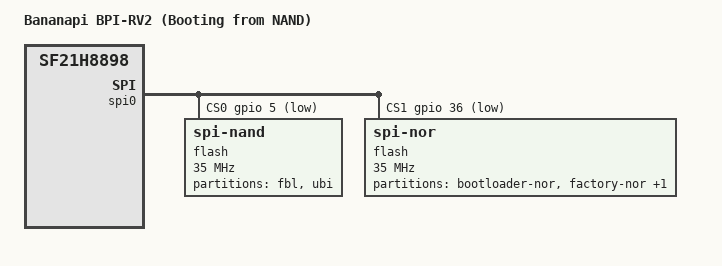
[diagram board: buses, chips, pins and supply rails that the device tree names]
/dts-v1/;
#include "sf21h8898_bananapi_bpi-rv2.dtsi"

/ {
	model = "Bananapi BPI-RV2 (Booting from NAND)";
	compatible = "bananapi,bpi-rv2-nand", "siflower,sf21h8898";
};

/*
 * The SPI-NAND provider is not usable yet. Do not let optional factory MAC
 * address cells block the Ethernet devices from probing through fw_devlink.
 */
&xgmac0 {
	/delete-property/ nvmem-cells;
	/delete-property/ nvmem-cell-names;
};

&xgmac1 {
	/delete-property/ nvmem-cells;
	/delete-property/ nvmem-cell-names;
};

&xgmac2 {
	/delete-property/ nvmem-cells;
	/delete-property/ nvmem-cell-names;
};

&xgmac3 {
	/delete-property/ nvmem-cells;
	/delete-property/ nvmem-cell-names;
};

&xgmac4 {
	/delete-property/ nvmem-cells;
	/delete-property/ nvmem-cell-names;
	/delete-property/ mac-address-increment;
};

&xgmac5 {
	/delete-property/ nvmem-cells;
	/delete-property/ nvmem-cell-names;
};

&spi0 {
	status = "okay";
	num-cs = <2>;
	cs-gpios = <&gpio 5 GPIO_ACTIVE_LOW>, <&gpio 36 GPIO_ACTIVE_LOW>;

	flash@0 {
		compatible = "spi-nand";
		reg = <0>;
		spi-max-frequency = <35000000>;
		spi-tx-bus-width = <2>;
		spi-rx-bus-width = <2>;

	        partitions {
			compatible = "fixed-partitions";
			#address-cells = <1>;
			#size-cells = <1>;

			partition@0 {
				label = "fbl";
				reg = <0x0 0x20000>;
			};

			partition@20000 {
				label = "ubi";
				reg = <0x20000 0x0>;
				compatible = "linux,ubi";

				volumes {
					factory: ubi-volume-factory {
						volname = "factory";

						nvmem-layout {
							compatible = "fixed-layout";
							#address-cells = <1>;
							#size-cells = <1>;

							macaddr_factory_0: macaddr@0 {
								compatible = "mac-base";
								reg = <0x0 0x6>;
								#nvmem-cell-cells = <1>;
							};
						};
					};

					rootdisk: ubi-volume-fit {
						volname = "fit";
					};
				};
			};
		};
	};

	flash@1 {
		compatible = "jedec,spi-nor";
		reg = <1>;
		spi-max-frequency = <35000000>;
		spi-tx-bus-width = <2>;
		spi-rx-bus-width = <2>;

	        partitions {
			compatible = "fixed-partitions";
			#address-cells = <1>;
			#size-cells = <1>;

			partition@0 {
				label = "bootloader-nor";
				reg = <0x0 0x90000>;
				read-only;
			};

			partition@90000 {
				label = "factory-nor";
				reg = <0x90000 0x10000>;
			};

			partition@a0000 {
				label = "firmware-nor";
				reg = <0xa0000 0xf60000>;
			};
		};
	};
};
